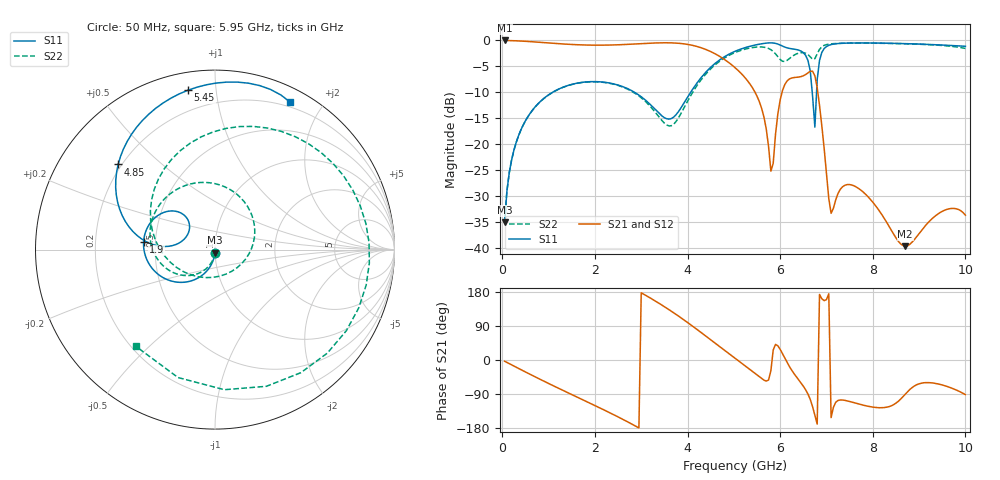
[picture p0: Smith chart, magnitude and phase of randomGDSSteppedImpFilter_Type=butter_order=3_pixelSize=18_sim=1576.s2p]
! freq	dB(S11)	phase(S11)	dB(S12)	phase(S12)
!  dB(S21)	phase(S21)	dB(S22)	phase(S22)
!S-par simulation data
#  GHz  S  DB  R 50
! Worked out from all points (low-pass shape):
!   200 points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, 50 MHz to 10 GHz, reference 50 ohm
!   highest |S21| = -0.01 dB at 50 MHz (marker M1); lowest = -39.7 dB at 8.7 GHz (marker M2)
!   |S21| within 3 dB of the highest: start of sweep to 4.68 GHz
!   lowest |S11| = -35.1 dB at 50 MHz (marker M3), VSWR 1.04, Z = 49.9 - j1.76 ohm
!   |S11| at or under -10 dB: start of sweep to 1.089 GHz; 2.854 GHz to 4.068 GHz (1.214 GHz wide, 35.1 % of centre); 6.693 GHz to 6.787 GHz (93.96 MHz wide, 1.39 % of centre)
!   |S22| runs from -35.1 to -0.5 dB; largest |S21 - S12| = 0
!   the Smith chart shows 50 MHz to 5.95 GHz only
!   S11 on the Smith chart (normalised r, x): 50 MHz: 1.00, -0.04; 1.9 GHz: 0.43, +0.04; 4.85 GHz: 0.19, +0.37; 5.45 GHz: 0.09, +0.84; 5.95 GHz: 0.15, +1.62
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0.05  -35.06 -92.6  -0.01 -3.2  -0.01 -3.2  -35.06 -93.4
0.5  -15.51 -117.9  -0.17 -31.6  -0.17 -31.6  -15.53 -126.1
1.75  -8.06 -179.4  -0.87 -105.7  -0.87 -105.7  -8.09 147.1
1.9  -7.96 174.0  -0.91 -114.4  -0.91 -114.4  -7.99 136.4
3.4  -14.19 136.6  -0.47 148.5  -0.47 148.5  -14.95 -16.8
4.1  -9.56 175.9  -0.94 90.1  -0.94 90.1  -10.17 178.7
4.85  -2.87 138.7  -4.00 20.9  -4.00 20.9  -3.11 78.7
5.05  -2.01 125.8  -5.45 2.5  -5.45 2.5  -2.25 54.6
5.45  -0.91 99.7  -9.87 -34.8  -9.87 -34.8  -1.32 2.6
5.8  -0.47 74.8  -25.23 -28.0  -25.23 -28.0  -1.79 -69.4
5.95  -0.70 63.0  -14.18 37.5  -14.18 37.5  -3.14 -129.5
6.05  -1.09 56.3  -9.69 16.8  -9.69 16.8  -4.03 175.1
6.2  -1.54 48.4  -7.44 -17.2  -7.44 -17.2  -3.50 99.3
6.45  -2.05 30.2  -6.98 -60.6  -6.98 -60.6  -2.36 32.7
6.7  -10.71 -5.5  -5.94 -122.9  -5.94 -122.9  -3.64 4.5
6.75  -16.73 64.5  -6.84 -146.1  -6.84 -146.1  -3.52 7.1
6.85  -3.87 74.4  -12.52 172.9  -12.52 172.9  -1.73 2.4
7.1  -0.80 35.4  -33.37 -152.0  -33.37 -152.0  -0.66 -23.3
7.55  -0.50 3.6  -27.91 -111.1  -27.91 -111.1  -0.52 -53.2
8.35  -0.54 -39.6  -35.86 -123.1  -35.86 -123.1  -0.58 -91.9
8.7  -0.62 -57.7  -39.71 -90.3  -39.71 -90.3  -0.65 -106.9
10  -1.13 -129.3  -33.72 -91.3  -33.72 -91.3  -1.55 -171.6
